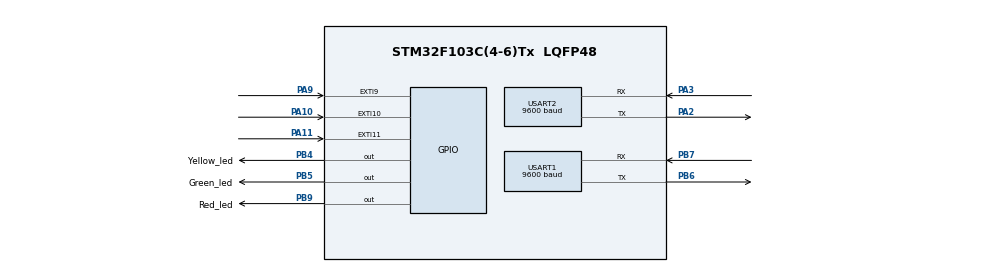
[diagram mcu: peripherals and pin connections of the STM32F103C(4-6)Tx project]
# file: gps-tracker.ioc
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Mcu.Family=STM32F1
Mcu.Name=STM32F103C(4-6)Tx
Mcu.Package=LQFP48
NVIC.EXTI15_10_IRQn=true\:0\:0\:false\:false\:true\:true\:true\:true
NVIC.EXTI9_5_IRQn=true\:0\:0\:false\:false\:true\:true\:true\:true
NVIC.PriorityGroup=NVIC_PRIORITYGROUP_4
NVIC.TIM2_IRQn=true\:0\:0\:false\:false\:true\:true\:true\:true
NVIC.USART1_IRQn=true\:0\:0\:false\:false\:true\:true\:true\:true
PA10.GPIO_ModeDefaultEXTI=GPIO_MODE_IT_FALLING
PA10.GPIO_PuPd=GPIO_PULLUP
PA10.Signal=GPXTI10
PA11.GPIO_ModeDefaultEXTI=GPIO_MODE_IT_FALLING
PA11.GPIO_PuPd=GPIO_PULLUP
PA11.Signal=GPXTI11
PA13.Mode=Serial_Wire
PA13.Signal=SYS_JTMS-SWDIO
PA14.Mode=Serial_Wire
PA14.Signal=SYS_JTCK-SWCLK
PA2.Mode=Asynchronous
PA2.Signal=USART2_TX
PA3.Mode=Asynchronous
PA3.Signal=USART2_RX
PA9.GPIO_ModeDefaultEXTI=GPIO_MODE_IT_FALLING
PA9.GPIO_PuPd=GPIO_PULLUP
PA9.Signal=GPXTI9
PB4.GPIO_Label=Yellow_led
PB4.GPIO_PuPd=GPIO_PULLDOWN
PB4.Signal=GPIO_Output
PB5.GPIO_Label=Green_led
PB5.GPIO_PuPd=GPIO_PULLDOWN
PB5.Signal=GPIO_Output
PB6.Mode=Asynchronous
PB6.Signal=USART1_TX
PB7.Mode=Asynchronous
PB7.Signal=USART1_RX
PB9.GPIO_Label=Red_led
PB9.GPIO_PuPd=GPIO_PULLDOWN
PB9.Signal=GPIO_Output
ProjectManager.HeapSize=0x200
ProjectManager.StackSize=0x400
ProjectManager.TargetToolchain=STM32CubeIDE
RCC.AHBCLKDivider=RCC_SYSCLK_DIV4
RCC.AHBFreq_Value=2000000
RCC.APB1CLKDivider=RCC_HCLK_DIV2
RCC.APB1Freq_Value=1000000
RCC.APB1TimFreq_Value=2000000
RCC.APB2Freq_Value=2000000
RCC.APB2TimFreq_Value=2000000
RCC.HCLKFreq_Value=2000000
TIM2.Period=10
TIM2.Prescaler=200-1
USART1.BaudRate=9600
USART1.VirtualMode=VM_ASYNC
USART2.BaudRate=9600
USART2.VirtualMode=VM_ASYNC
VP_TIM2_VS_ClockSourceINT.Mode=Internal
board=custom

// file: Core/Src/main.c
/* USER CODE BEGIN Header */
/**
  ******************************************************************************
  * @file           : main.c
  * @brief          : Main program body
  ******************************************************************************
  * @attention
  *
  * Copyright (c) 2023 STMicroelectronics.
  * All rights reserved.
  *
  * This software is licensed under terms that can be found in the LICENSE file
  * in the root directory of this software component.
  * If no LICENSE file comes with this software, it is provided AS-IS.
  *
  ******************************************************************************
  */
/* USER CODE END Header */
#include "main.h"
#include "tim.h"
#include "usart.h"
#include "gpio.h"

/* USER CODE BEGIN Includes */
#include <stdio.h>
#include <string.h>
#include "nmea.h"
#include "button.h"
#include "flash.h"
#include <stdlib.h>
/* USER CODE END Includes */

/* USER CODE BEGIN PD */

#define rx_buffer_size 1000 // received buffer size
/* USER CODE END PD */

/* USER CODE BEGIN PV */
uint8_t rx_buffer[rx_buffer_size] = { 0, }; //received buffer
uint8_t push_on_off = 0;
uint8_t push_transmit = 0;
uint8_t push_make_point = 0;

//uint8_t check_power = 0;
uint8_t check_capacity = 0; //responsible for flash-memory recording

uint8_t tx_buf1[24] = { '$', 'P', 'C', 'A', 'S', '0', '3', '1', '1', '1', '1', '1', '1', '1', '1', '0', '1', '0', '0', '1', '0', '*', '0', '2' };
uint8_t tx_buf2[11] = { '$', 'P', 'C', 'A', 'S', '0', '1', '1', '*', '1', 'D'};
uint8_t tx_buf3[12] = { '$', 'P', 'C', 'A', 'S', '0', '4', ',', '6', '*', '1', 'F'};

/* USER CODE END PV */

void SystemClock_Config(void);

/* USER CODE BEGIN 0 */
void HAL_UART_IDLE_Callback(UART_HandleTypeDef *huart) {
	if (huart == &huart1) {
		__HAL_UART_DISABLE_IT(&huart1, UART_IT_IDLE);

		HAL_UART_AbortReceive_IT(&huart1);
		__HAL_UART_CLEAR_IDLEFLAG(&huart1);
		__HAL_UART_ENABLE_IT(&huart1, UART_IT_IDLE);
		HAL_UART_Receive_IT(&huart1, (uint8_t*)rx_buffer, rx_buffer_size);
	}
}

void HAL_UART_RxCpltCallback(UART_HandleTypeDef *huart) {
	if (huart == &huart1) {
		__HAL_UART_DISABLE_IT(&huart1, UART_IT_IDLE);

		HAL_UART_AbortReceive_IT(&huart1);
		__HAL_UART_CLEAR_IDLEFLAG(&huart1);
		__HAL_UART_ENABLE_IT(&huart1, UART_IT_IDLE);
		HAL_UART_Receive_IT(&huart1, (uint8_t*)rx_buffer, rx_buffer_size);
	}
}

//void HAL_GPIO_EXTI_Callback(uint16_t GPIO_Pin)
//{
//	if (GPIO_Pin == BUT_ON_OFF) // on or off record track
//	{
//		uint16_t t0 = TIM2->CNT;
//		//HAL_GPIO_WritePin(GPIOB, GPIO_PIN_9, GPIO_PIN_SET);
//		uint16_t t1 = Read_Button_Time_Push(GPIO_Pin, t0);
//		if (t1 < 1500) push_on_off = 1;
//
//		if (Read_Button_Time_Push(GPIO_Pin, t0) > 3000) push_on_off = 2;
//	}
//
//	if (GPIO_Pin == BUT_MAKE_POINT) // make a point
//	{
//		uint16_t t0 = TIM2->CNT;
////		 HAL_GPIO_WritePin(GPIOB, Yellow_led_Pin, GPIO_PIN_SET);
//		if (Read_Button_Time_Push(GPIO_Pin, t0) < 1000) push_make_point = 1;
//	}
//
//	if (GPIO_Pin == BUT_TRANSMIT_DATA) // send data
//	{
//		uint16_t t0 = TIM2->CNT;
////		HAL_GPIO_WritePin(GPIOB, Yellow_led_Pin, GPIO_PIN_SET);
//		if (Read_Button_Time_Push(GPIO_Pin, t0) < 1000) push_transmit = 1;
//	}
//
//}

/* USER CODE END 0 */

int main(void)
{

  /* MCU Configuration--------------------------------------------------------*/

  /* Reset of all peripherals, Initializes the Flash interface and the Systick. */
  HAL_Init();

  /* Configure the system clock */
  SystemClock_Config();

  /* Initialize all configured peripherals */
  MX_GPIO_Init();
  MX_USART1_UART_Init();
  MX_USART2_UART_Init();
  MX_TIM2_Init();
  /* USER CODE BEGIN 2 */
	__HAL_UART_ENABLE_IT(&huart1, UART_IT_IDLE);
	HAL_UART_Receive_IT(&huart1, (uint8_t*)rx_buffer, rx_buffer_size);
	HAL_TIM_Base_Start_IT(&htim2);

  /* USER CODE END 2 */

  /* Infinite loop */
  /* USER CODE BEGIN WHILE */
  while (1)
  {

	  uint8_t *buffer = get_transmit_buf().buf;
	  uint16_t size = get_transmit_buf().size;
	  uint16_t u16_size = 0;

	  if ((size / 2) % 2 != 0)
	  {
		  u16_size = size / 2 + 1;
	  }
	  else u16_size = size / 2;
//
//
	  if (check_valid_data(rx_buffer) == -1 && !check_capacity)
	  {
		  HAL_GPIO_WritePin(GPIOB, Red_led_Pin, GPIO_PIN_SET);
		 // Delay(300);
		  HAL_Delay(500);
		  HAL_GPIO_WritePin(GPIOB, Red_led_Pin, GPIO_PIN_RESET);
		  HAL_Delay(500);
	  }
	  else if (check_valid_data(rx_buffer) && !push_on_off && !check_capacity)
	  {
		  HAL_GPIO_WritePin(GPIOB, Green_led_Pin, GPIO_PIN_SET);
		  HAL_Delay(500);
		  HAL_GPIO_WritePin(GPIOB, Green_led_Pin, GPIO_PIN_RESET);
		  HAL_Delay(500);
	  }
//
//
	  if (size >= 980 && size < 1010)
	  {
//		  Save_Data(buf_u8_to_u16(buffer, size), u16_size + 1);
//		  Save_Data(&amount_lists, 1);
		  set_ind_c(0);
		  set_ind_t(0);
		  amount_lists++;
	  } // save data on one page flash-memory

	  if (push_on_off == 1 && !push_make_point)
	  {
		  nmea_handler(rx_buffer, AVERAGE);
		  HAL_Delay(1000);
		  HAL_GPIO_WritePin(Green_led_GPIO_Port, Green_led_Pin, GPIO_PIN_SET);

	  } // start receive data

	  if (check_valid_data(rx_buffer) == 1)
	  {
		  HAL_GPIO_WritePin(GPIOB, GPIO_PIN_5, GPIO_PIN_SET);
	  }
	  if (push_on_off == 1 && push_make_point)
	  {
		  nmea_handler(rx_buffer, SPECIAL);
		  push_make_point = 0;
		  HAL_GPIO_WritePin(GPIOB, Yellow_led_Pin, GPIO_PIN_SET);
	  } // make a special point
	  //Delay(300);
	  HAL_GPIO_WritePin(GPIOB, Yellow_led_Pin, GPIO_PIN_RESET);

	  if (push_on_off == 2)
	  {
		  Save_Data(buf_u8_to_u16(buffer, size), u16_size + 1);
		  Save_Data(&amount_lists, 1);
		  push_on_off = 0;
		  set_ind_c(0);
		  set_ind_t(0);
		  amount_lists++;
	  } //stop receive and save data

	  if (push_on_off == 0)
	  {
		  HAL_GPIO_WritePin(GPIOB, Green_led_Pin, GPIO_PIN_RESET);
	  }

	  if (push_transmit)
	  {
//		  uint16_t lists = 0;
//		  if ((*((uint32_t*)(ADDR_AMOUNT_PAGES))) == 0xFF) lists = 0;
//		  else lists = (*((uint32_t*)(ADDR_AMOUNT_PAGES)));
//		  for (uint16_t i = 0; i < lists; i++)
//		  {
//			  uint32_t add = ((uint32_t)(ADDR_FLASH_PAGE_START - ((uint32_t)(0x0000400 * (uint32_t)i))));
//			  uint16_t len = (*((uint32_t*)(ADDR_FLASH_PAGE_START - ((uint32_t)(0x0000400 * (uint32_t)i)))));
//			  transmit_data(buf_u16_to_u8(Read_Data(add, len), len), len * 2);
//		  }
		  HAL_GPIO_WritePin(GPIOB, Yellow_led_Pin, GPIO_PIN_SET);
		  Delay(2000);
		  HAL_GPIO_WritePin(GPIOB, Yellow_led_Pin, GPIO_PIN_RESET);
		  push_transmit = 0;
	  }

//	  if (address_list_now == ((uint32_t)0x08007800))
//	  {
//		  check_capacity = 1;
//		  push_on_off = 0;
//	  } //check flash-memory capacity
//
//	  if (check_capacity)
//	  {
//		  HAL_GPIO_WritePin(GPIOB, GPIO_PIN_9, GPIO_PIN_SET);
//	  }
    /* USER CODE END WHILE */

  }
}

void SystemClock_Config(void)
{
  RCC_OscInitTypeDef RCC_OscInitStruct = {0};
  RCC_ClkInitTypeDef RCC_ClkInitStruct = {0};

  /** Initializes the RCC Oscillators according to the specified parameters
  * in the RCC_OscInitTypeDef structure.
  */
  RCC_OscInitStruct.OscillatorType = RCC_OSCILLATORTYPE_HSI;
  RCC_OscInitStruct.HSIState = RCC_HSI_ON;
  RCC_OscInitStruct.HSICalibrationValue = RCC_HSICALIBRATION_DEFAULT;
  RCC_OscInitStruct.PLL.PLLState = RCC_PLL_NONE;
  if (HAL_RCC_OscConfig(&RCC_OscInitStruct) != HAL_OK)
  {
    Error_Handler();
  }

  /** Initializes the CPU, AHB and APB buses clocks
  */
  RCC_ClkInitStruct.ClockType = RCC_CLOCKTYPE_HCLK|RCC_CLOCKTYPE_SYSCLK
                              |RCC_CLOCKTYPE_PCLK1|RCC_CLOCKTYPE_PCLK2;
  RCC_ClkInitStruct.SYSCLKSource = RCC_SYSCLKSOURCE_HSI;
  RCC_ClkInitStruct.AHBCLKDivider = RCC_SYSCLK_DIV4;
  RCC_ClkInitStruct.APB1CLKDivider = RCC_HCLK_DIV2;
  RCC_ClkInitStruct.APB2CLKDivider = RCC_HCLK_DIV1;

  if (HAL_RCC_ClockConfig(&RCC_ClkInitStruct, FLASH_LATENCY_0) != HAL_OK)
  {
    Error_Handler();
  }
}

/* USER CODE BEGIN 4 */
void HAL_TIM_PeriodElapsedCallback(TIM_HandleTypeDef *htim)
{
	if (htim->Instance == htim2.Instance)
	{
		Read_Button_Time_Push();
	}
}
/* USER CODE END 4 */

void Error_Handler(void)
{
  __disable_irq();
  while (1)
  {
  }
}
